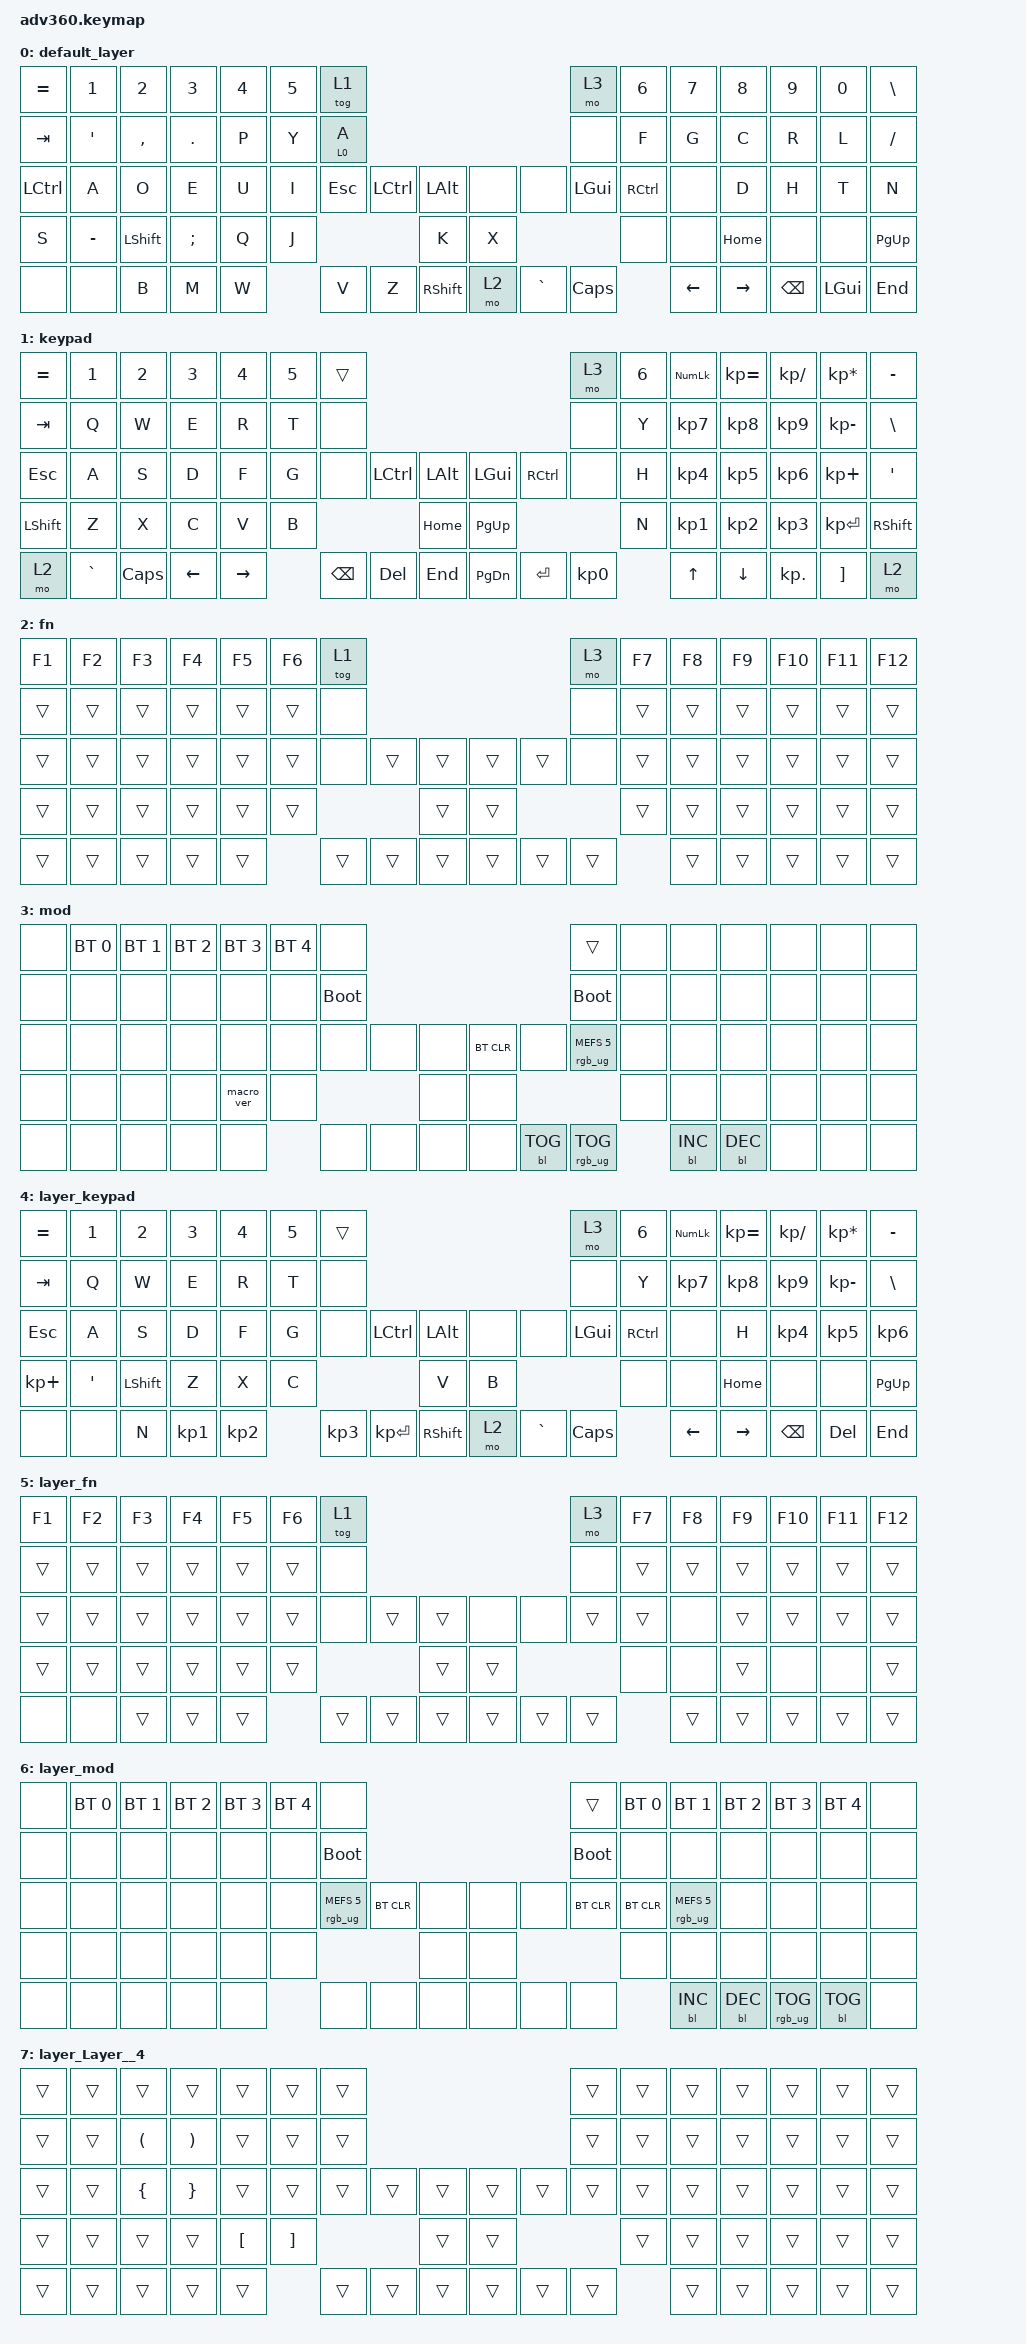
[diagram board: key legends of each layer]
/*
 * Copyright (c) 2020 The ZMK Contributors
 *
 * SPDX-License-Identifier: MIT
 */
/* THIS FILE WAS GENERATED!
 *
 * This file was generated automatically. You may or may not want to
 * edit it directly.
 */

#include <behaviors.dtsi>
#include <dt-bindings/zmk/backlight.h>
#include <dt-bindings/zmk/bt.h>
#include <dt-bindings/zmk/keys.h>
#include <dt-bindings/zmk/rgb.h>

/ {
    behaviors {
        #include "macros.dtsi"
      #include "version.dtsi"
      #ifndef VERSION_MACRO

        macro_ver: macro_ver {
            compatible = "zmk,behavior-macro";
            label = "macro_version";
            #binding-cells = <0>;
            bindings = <&kp RET>;
        };

        #endif

        hm: homerow_mods {
            compatible = "zmk,behavior-hold-tap";
            label = "HOMEROW_MODS";
            #binding-cells = <2>;
            tapping-term-ms = <200>;
            quick_tap_ms = <175>;
            flavor = "tap-preferred";
            bindings = <&kp>, <&kp>;
        };
    };

    keymap {
        compatible = "zmk,keymap";

        default_layer {
            bindings = <
        &kp EQUAL &kp N1    &kp N2   &kp N3   &kp N4     &kp N5 &tog 1                                                           &mo 3 &kp N6 &kp N7 &kp N8    &kp N9   &kp N0   &kp MINUS
        &kp TAB   &kp Q     &kp W    &kp E    &kp R      &kp T  &none                                                            &none &kp Y  &kp U  &kp I     &kp O    &kp P    &kp BSLH
        &kp ESC   &kp A     &kp S    &kp D    &kp F      &kp G  &none           &kp LCTRL &kp LALT &kp LGUI  &kp RCTRL           &none &kp H  &kp J  &kp K     &kp L    &kp SEMI &kp SQT
        &kp LSHFT &kp Z     &kp X    &kp C    &kp V      &kp B                            &kp HOME &kp PG_UP                           &kp N  &kp M  &kp COMMA &kp DOT  &kp FSLH &kp RSHFT
        &mo 2     &kp GRAVE &kp CAPS &kp LEFT &kp RIGHT                &kp BSPC &kp DEL   &kp END  &kp PG_DN &kp ENTER &kp SPACE              &kp UP &kp DOWN  &kp LBKT &kp RBKT &mo 2
            >;
        };

        keypad {
            bindings = <
        &kp EQUAL &kp N1    &kp N2   &kp N3   &kp N4     &kp N5 &trans                                                           &mo 3 &kp N6 &kp KP_NUM &kp KP_EQUAL &kp KP_DIVIDE &kp KP_MULTIPLY &kp MINUS
        &kp TAB   &kp Q     &kp W    &kp E    &kp R      &kp T  &none                                                            &none &kp Y  &kp KP_N7  &kp KP_N8    &kp KP_N9     &kp KP_MINUS    &kp BSLH
        &kp ESC   &kp A     &kp S    &kp D    &kp F      &kp G  &none           &kp LCTRL &kp LALT &kp LGUI  &kp RCTRL           &none &kp H  &kp KP_N4  &kp KP_N5    &kp KP_N6     &kp KP_PLUS     &kp SQT
        &kp LSHFT &kp Z     &kp X    &kp C    &kp V      &kp B                            &kp HOME &kp PG_UP                           &kp N  &kp KP_N1  &kp KP_N2    &kp KP_N3     &kp KP_ENTER    &kp RSHFT
        &mo 2     &kp GRAVE &kp CAPS &kp LEFT &kp RIGHT                &kp BSPC &kp DEL   &kp END  &kp PG_DN &kp ENTER &kp KP_N0              &kp UP     &kp DOWN     &kp KP_DOT    &kp RBKT        &mo 2
            >;
        };

        fn {
            bindings = <
        &kp F1 &kp F2 &kp F3 &kp F4 &kp F5 &kp F6 &tog 1                                           &mo 3 &kp F7 &kp F8 &kp F9 &kp F10 &kp F11 &kp F12
        &trans &trans &trans &trans &trans &trans  &none                                           &none &trans &trans &trans &trans  &trans  &trans
        &trans &trans &trans &trans &trans &trans  &none        &trans &trans &trans &trans        &none &trans &trans &trans &trans  &trans  &trans
        &trans &trans &trans &trans &trans &trans                      &trans &trans                     &trans &trans &trans &trans  &trans  &trans
        &trans &trans &trans &trans &trans               &trans &trans &trans &trans &trans &trans              &trans &trans &trans  &trans  &trans
            >;
        };

        mod {
            bindings = <
        &none &bt BT_SEL 0 &bt BT_SEL 1 &bt BT_SEL 2 &bt BT_SEL 3 &bt BT_SEL 4 &none                                                                     &trans                 &none        &none        &none        &none &none &none
        &none &none        &none        &none        &none        &none        &bootloader                                                               &bootloader            &none        &none        &none        &none &none &none
        &none &none        &none        &none        &none        &none        &none                   &none &none &bt BT_CLR &none                      &rgb_ug RGB_MEFS_CMD 5 &none        &none        &none        &none &none &none
        &none &none        &none        &none        &macro_ver   &none                                      &none &none                                                        &none        &none        &none        &none &none &none
        &none &none        &none        &none        &none                                       &none &none &none &none      &bl BL_TOG &rgb_ug RGB_TOG                                     &bl BL_INC   &bl BL_DEC   &none &none &none
            >;
        };
    };

    macros {
    };

    keymap {
        compatible = "zmk,keymap";

        default_layer {
            bindings = <
&kp EQUAL  &kp N1     &kp N2     &kp N3    &kp N4  &kp N5  &tog 1                                               &mo 3     &kp N6     &kp N7    &kp N8     &kp N9    &kp N0    &kp BACKSLASH
&kp TAB    &kp SQT    &kp COMMA  &kp DOT   &kp P   &kp Y   &lt 0 A                                              &none     &kp F      &kp G     &kp C      &kp R     &kp L     &kp SLASH
&kp LCTRL  &kp A      &kp O      &kp E     &kp U   &kp I   &kp ESC  &kp LCTRL  &kp LALT       &none  &none      &kp LGUI  &kp RCTRL  &none     &kp D      &kp H     &kp T     &kp N
&kp S      &kp MINUS  &kp LSHFT  &kp SEMI  &kp Q   &kp J                       &kp K          &kp X                       &none      &none     &kp HOME   &none     &none     &kp PG_UP
&none      &none      &kp B      &kp M     &kp W           &kp V    &kp Z      &kp RSHFT      &mo 2  &kp GRAVE  &kp CAPS             &kp LEFT  &kp RIGHT  &kp BSPC  &kp LGUI  &kp END
            >;
        };

        layer_keypad {
            bindings = <
&kp EQUAL    &kp N1   &kp N2     &kp N3     &kp N4     &kp N5  &trans                                                    &mo 3     &kp N6     &kp KP_NUM  &kp KP_EQUAL  &kp KP_DIVIDE  &kp KP_MULTIPLY  &kp MINUS
&kp TAB      &kp Q    &kp W      &kp E      &kp R      &kp T   &none                                                     &none     &kp Y      &kp KP_N7   &kp KP_N8     &kp KP_N9      &kp KP_MINUS     &kp BSLH
&kp ESC      &kp A    &kp S      &kp D      &kp F      &kp G   &none      &kp LCTRL     &kp LALT       &none  &none      &kp LGUI  &kp RCTRL  &none       &kp H         &kp KP_N4      &kp KP_N5        &kp KP_N6
&kp KP_PLUS  &kp SQT  &kp LSHFT  &kp Z      &kp X      &kp C                            &kp V          &kp B                       &none      &none       &kp HOME      &none          &none            &kp PG_UP
&none        &none    &kp N      &kp KP_N1  &kp KP_N2          &kp KP_N3  &kp KP_ENTER  &kp RSHFT      &mo 2  &kp GRAVE  &kp CAPS             &kp LEFT    &kp RIGHT     &kp BSPC       &kp DEL          &kp END
            >;
        };

        layer_fn {
            bindings = <
&kp F1  &kp F2  &kp F3  &kp F4  &kp F5  &kp F6  &tog 1                                      &mo 3   &kp F7  &kp F8  &kp F9  &kp F10  &kp F11  &kp F12
&trans  &trans  &trans  &trans  &trans  &trans  &none                                       &none   &trans  &trans  &trans  &trans   &trans   &trans
&trans  &trans  &trans  &trans  &trans  &trans  &none   &trans  &trans      &none   &none   &trans  &trans  &none   &trans  &trans   &trans   &trans
&trans  &trans  &trans  &trans  &trans  &trans                  &trans      &trans                  &none   &none   &trans  &none    &none    &trans
&none   &none   &trans  &trans  &trans          &trans  &trans  &trans      &trans  &trans  &trans          &trans  &trans  &trans   &trans   &trans
            >;
        };

        layer_mod {
            bindings = <
&none  &bt BT_SEL 0  &bt BT_SEL 1  &bt BT_SEL 2  &bt BT_SEL 3  &bt BT_SEL 4  &none                                                        &trans       &bt BT_SEL 0  &bt BT_SEL 1            &bt BT_SEL 2  &bt BT_SEL 3     &bt BT_SEL 4  &none
&none  &none         &none         &none         &none         &none         &bootloader                                                  &bootloader  &none         &none                   &none         &none            &none         &none
&none  &none         &none         &none         &none         &none         &rgb_ug RGB_MEFS_CMD 5  &bt BT_CLR  &none      &none  &none  &bt BT_CLR   &bt BT_CLR    &rgb_ug RGB_MEFS_CMD 5  &none         &none            &none         &none
&none  &none         &none         &none         &none         &none                                             &none      &none                      &none         &none                   &none         &none            &none         &none
&none  &none         &none         &none         &none                       &none                   &none       &none      &none  &none  &none                      &bl BL_INC              &bl BL_DEC    &rgb_ug RGB_TOG  &bl BL_TOG    &none
            >;
        };

        layer_Layer__4 {
            bindings = <
&trans  &trans  &trans                &trans                 &trans            &trans             &trans                                      &trans  &trans  &trans  &trans  &trans  &trans  &trans
&trans  &trans  &kp LEFT_PARENTHESIS  &kp RIGHT_PARENTHESIS  &trans            &trans             &trans                                      &trans  &trans  &trans  &trans  &trans  &trans  &trans
&trans  &trans  &kp LEFT_BRACE        &kp RIGHT_BRACE        &trans            &trans             &trans  &trans  &trans      &trans  &trans  &trans  &trans  &trans  &trans  &trans  &trans  &trans
&trans  &trans  &trans                &trans                 &kp LEFT_BRACKET  &kp RIGHT_BRACKET                  &trans      &trans                  &trans  &trans  &trans  &trans  &trans  &trans
&trans  &trans  &trans                &trans                 &trans                               &trans  &trans  &trans      &trans  &trans  &trans          &trans  &trans  &trans  &trans  &trans
            >;
        };
    };
};
